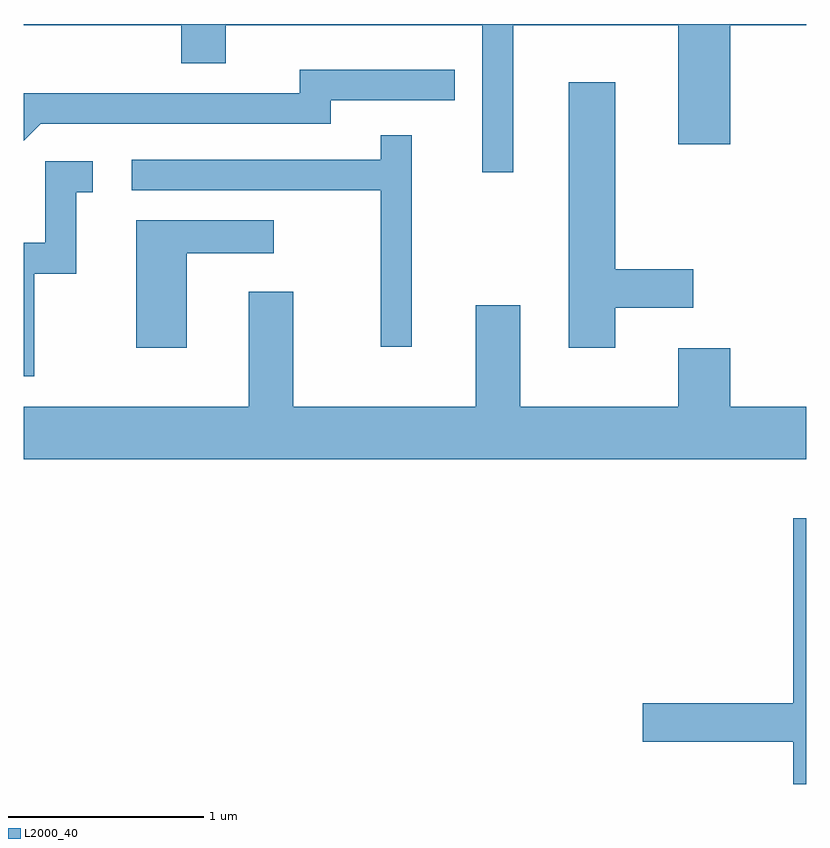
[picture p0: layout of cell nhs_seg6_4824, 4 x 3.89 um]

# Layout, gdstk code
import gdstk
lib = gdstk.Library(unit=1e-6, precision=1e-09)
def P(c, l, *ps):  # polygons
    for p in ps: c.add(gdstk.Polygon(p, *l))
L2000_40 = (2000, 40)

nhs_seg6_4824 = lib.new_cell('nhs_seg6_4824')
P(nhs_seg6_4824, L2000_40, [(331.611,1652.156),(332.416,1652.156),(332.416,1651.961),(332.644,1651.961),(332.644,1652.156),(333.956,1652.156),(333.956,1651.403),(334.114,1651.403),(334.114,1652.156),(334.956,1652.156),(334.956,1651.546),(335.224,1651.546),(335.224,1652.156),(335.611,1652.156),(335.611,1652.162),(331.611,1652.162)],
  [(331.697,1651.651),(333.179,1651.651),(333.179,1651.771),(333.813,1651.771),(333.813,1651.929),(333.021,1651.929),(333.021,1651.809),(331.611,1651.809),(331.611,1651.566)],
  [(334.634,1650.711),(335.034,1650.711),(335.034,1650.909),(334.634,1650.909),(334.634,1651.864),(334.396,1651.864),(334.396,1650.506),(334.634,1650.506)],
  [(333.594,1651.593),(333.436,1651.593),(333.436,1651.469),(332.163,1651.469),(332.163,1651.311),(333.436,1651.311),(333.436,1650.513),(333.594,1650.513)],
  [(331.664,1650.886),(331.879,1650.886),(331.879,1651.301),(331.963,1651.301),(331.963,1651.459),(331.721,1651.459),(331.721,1651.044),(331.611,1651.044),(331.611,1650.361),(331.664,1650.361)],
  [(332.444,1650.991),(332.888,1650.991),(332.888,1651.159),(332.186,1651.159),(332.186,1650.506),(332.444,1650.506)],
  [(335.611,1650.204),(335.224,1650.204),(335.224,1650.504),(334.956,1650.504),(334.956,1650.204),(334.149,1650.204),(334.149,1650.724),(333.921,1650.724),(333.921,1650.204),(332.989,1650.204),(332.989,1650.794),(332.761,1650.794),(332.761,1650.204),(331.611,1650.204),(331.611,1649.936),(335.611,1649.936)],
  [(335.611,1649.634),(335.546,1649.634),(335.546,1648.689),(334.776,1648.689),(334.776,1648.491),(335.546,1648.491),(335.546,1648.276),(335.611,1648.276)])

lib.write_gds('nhs_seg6_4824.gds')
